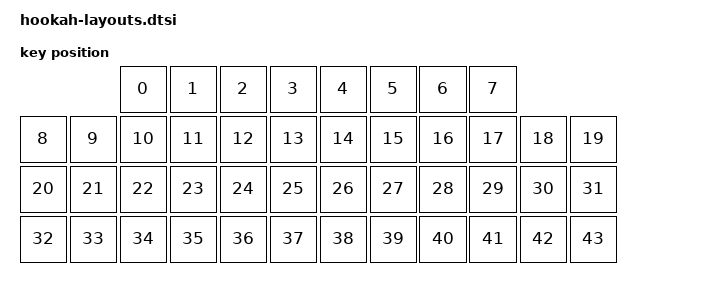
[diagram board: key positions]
#include <physical_layouts.dtsi>

/{
    hookah_layout: hookah_layout {
        compatible = "zmk,physical-layout";
        display-name = "Hookah WL";
        keys  //                     w   h    x    y     rot    rx    ry
            = <&key_physical_attrs 100 100  200    0       0     0     0>
            , <&key_physical_attrs 100 100  300    0       0     0     0>
            , <&key_physical_attrs 100 100  400    0       0     0     0>
            , <&key_physical_attrs 100 100  500    0       0     0     0>
            , <&key_physical_attrs 100 100  600    0       0     0     0>
            , <&key_physical_attrs 100 100  700    0       0     0     0>
            , <&key_physical_attrs 100 100  800    0       0     0     0>
            , <&key_physical_attrs 100 100  900    0       0     0     0>
            , <&key_physical_attrs 100 100    0  100       0     0     0>
            , <&key_physical_attrs 100 100  100  100       0     0     0>
            , <&key_physical_attrs 100 100  200  100       0     0     0>
            , <&key_physical_attrs 100 100  300  100       0     0     0>
            , <&key_physical_attrs 100 100  400  100       0     0     0>
            , <&key_physical_attrs 100 100  500  100       0     0     0>
            , <&key_physical_attrs 100 100  600  100       0     0     0>
            , <&key_physical_attrs 100 100  700  100       0     0     0>
            , <&key_physical_attrs 100 100  800  100       0     0     0>
            , <&key_physical_attrs 100 100  900  100       0     0     0>
            , <&key_physical_attrs 100 100 1000  100       0     0     0>
            , <&key_physical_attrs 100 100 1100  100       0     0     0>
            , <&key_physical_attrs 100 100    0  200       0     0     0>
            , <&key_physical_attrs 100 100  100  200       0     0     0>
            , <&key_physical_attrs 100 100  200  200       0     0     0>
            , <&key_physical_attrs 100 100  300  200       0     0     0>
            , <&key_physical_attrs 100 100  400  200       0     0     0>
            , <&key_physical_attrs 100 100  500  200       0     0     0>
            , <&key_physical_attrs 100 100  600  200       0     0     0>
            , <&key_physical_attrs 100 100  700  200       0     0     0>
            , <&key_physical_attrs 100 100  800  200       0     0     0>
            , <&key_physical_attrs 100 100  900  200       0     0     0>
            , <&key_physical_attrs 100 100 1000  200       0     0     0>
            , <&key_physical_attrs 100 100 1100  200       0     0     0>
            , <&key_physical_attrs 100 100    0  300       0     0     0>
            , <&key_physical_attrs 100 100  100  300       0     0     0>
            , <&key_physical_attrs 100 100  200  300       0     0     0>
            , <&key_physical_attrs 100 100  300  300       0     0     0>
            , <&key_physical_attrs 100 100  400  300       0     0     0>
            , <&key_physical_attrs 100 100  500  300       0     0     0>
            , <&key_physical_attrs 100 100  600  300       0     0     0>
            , <&key_physical_attrs 100 100  700  300       0     0     0>
            , <&key_physical_attrs 100 100  800  300       0     0     0>
            , <&key_physical_attrs 100 100  900  300       0     0     0>
            , <&key_physical_attrs 100 100 1000  300       0     0     0>
            , <&key_physical_attrs 100 100 1100  300       0     0     0>
            ;
    };
    
    hookah_layout_position_map: hookah_layout_position_map {
        compatible = "zmk,physical-layout-position-map";
        complete; 
        hookah_full_posmap: full_posmap{
            physical-layout = <&hookah_layout>;
            positions //
                = < 0  1  2  3  4  5 22 23 24 25 26 27>
                , < 6  7  8  9 10 11 28 29 30 31 32 33>
                , <12 13 14 15 16 17 34 35 36 37 38 39>
                , <      18 19 20 21 40 41 42 43      >
                ;
        };
    };
};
